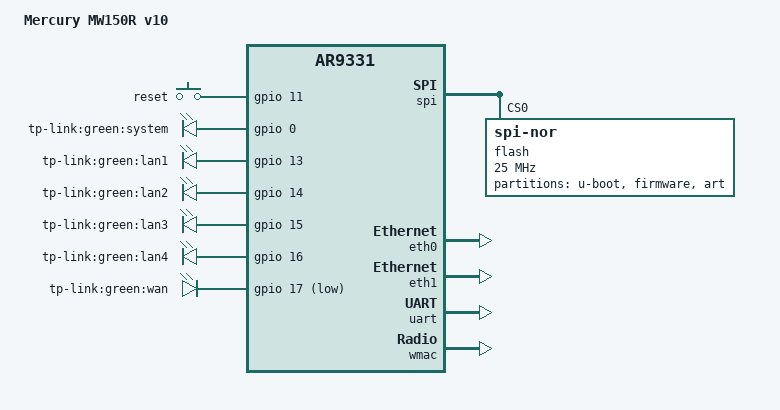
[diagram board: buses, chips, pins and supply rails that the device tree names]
// SPDX-License-Identifier: GPL-2.0-or-later OR MIT
/dts-v1/;

#include <dt-bindings/gpio/gpio.h>
#include <dt-bindings/input/input.h>

#include "ar9331.dtsi"

/ {
	compatible = "mercury,mw150r-v10", "qca,ar9331";
	model = "Mercury MW150R v10";

	aliases {
		serial0 = &uart;
		led-boot = &system;
		led-failsafe = &system;
		led-running = &system;
		led-upgrade = &system;
	};

	keys {
		compatible = "gpio-keys-polled";
		poll-interval = <20>;

		reset {
			label = "reset";
			linux,code = <KEY_RESTART>;
			gpios = <&gpio 11 GPIO_ACTIVE_HIGH>;
			debounce-interval = <60>;
		};
	};

	leds {
		compatible = "gpio-leds";
		pinctrl-names = "default";
		pinctrl-0 = <&switch_led_disable_pins>;

		system: system {
			label = "tp-link:green:system";
			gpios = <&gpio 0 GPIO_ACTIVE_HIGH>;
			default-state = "on";
		};

		lan1 {
			label = "tp-link:green:lan1";
			gpios = <&gpio 13 GPIO_ACTIVE_HIGH>;
		};

		lan2 {
			label = "tp-link:green:lan2";
			gpios = <&gpio 14 GPIO_ACTIVE_HIGH>;
		};

		lan3 {
			label = "tp-link:green:lan3";
			gpios = <&gpio 15 GPIO_ACTIVE_HIGH>;
		};

		lan4 {
			label = "tp-link:green:lan4";
			gpios = <&gpio 16 GPIO_ACTIVE_HIGH>;
		};

		wan {
			label = "tp-link:green:wan";
			gpios = <&gpio 17 GPIO_ACTIVE_LOW>;
		};
	};
};

&spi {
	status = "okay";
	num-cs = <1>;

	flash@0 {
		compatible = "jedec,spi-nor";
		reg = <0>;
		spi-max-frequency = <25000000>;

		partitions {
			compatible = "fixed-partitions";
			#address-cells = <1>;
			#size-cells = <1>;

			uboot: partition@0 {
				reg = <0x0 0x20000>;
				label = "u-boot";
				read-only;
			};

			firmware: partition@20000 {
				compatible = "tplink,firmware";
				reg = <0x20000 0x7d0000>;
				label = "firmware";
			};

			art: partition@3f0000 {
				reg = <0x7f0000 0x10000>;
				label = "art";
				read-only;
			};
		};
	};
};

&eth0 {
	status = "okay";

	mtd-mac-address = <&uboot 0x1fc00>;
	mtd-mac-address-increment = <1>;

	gmac-config {
		device = <&gmac>;

		switch-phy-addr-swap = <1>;
		switch-phy-swap = <1>;
	};
};

&eth1 {
	status = "okay";

	mtd-mac-address = <&uboot 0x1fc00>;
	mtd-mac-address-increment = <(-1)>;
};

&gpio {
	status = "okay";
};

&uart {
	status = "okay";
};

&wmac {
	status = "okay";
	mtd-cal-data = <&art 0x1000>;
	mtd-mac-address = <&uboot 0x1fc00>;
};
